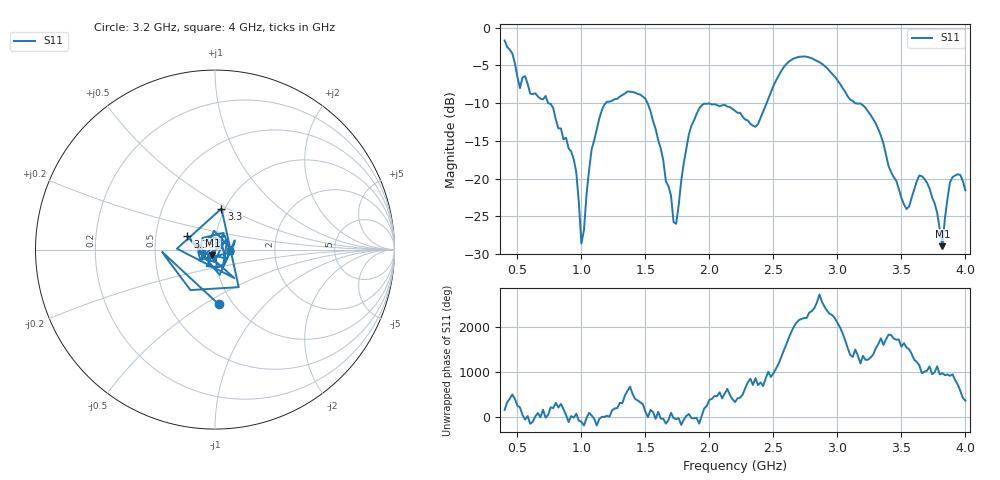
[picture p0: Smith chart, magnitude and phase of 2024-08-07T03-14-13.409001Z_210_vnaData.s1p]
!Created with skrf (http://scikit-rf.org).
# Hz S RI R 50.0
!freq ReS11 ImS11
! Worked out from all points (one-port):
!   181 points, 400 MHz to 4 GHz, reference 50 ohm
!   lowest |S11| = -29.0 dB at 3.82 GHz (marker M1), VSWR 1.07, Z = 48.4 - j3.14 ohm
!   |S11| at or under -10 dB: 739.8 MHz to 1.19 GHz (449.7 MHz wide, 46.6 % of centre); 1.517 GHz to 2.447 GHz (930.3 MHz wide, 46.9 % of centre); 3.139 GHz to end of sweep
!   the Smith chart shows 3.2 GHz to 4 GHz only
!   S11 on the Smith chart (normalised r, x): 3.2 GHz: 0.86, -0.58; 3.3 GHz: 0.96, +0.47; 3.36 GHz: 0.73, +0.11; 4 GHz: 1.18, -0.02
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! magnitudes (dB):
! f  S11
! 400 MHz  -1.7
! 520 MHz  -8.0
! 720 MHz  -9.0
! 860 MHz  -14.8
! 960 MHz  -19.2
! 1 GHz  -28.6
! 1.08 GHz  -16.1
! 1.14 GHz  -12.0
! 1.3 GHz  -9.1
! 1.5 GHz  -9.4
! 1.62 GHz  -16.0
! 1.72 GHz  -25.8
! 1.76 GHz  -23.5
! 1.84 GHz  -14.1
! 1.92 GHz  -10.7
! 2.2 GHz  -11.0
! 2.36 GHz  -13.1
! 2.66 GHz  -4.1
! 2.88 GHz  -4.8
! 3.1 GHz  -9.5
! 3.2 GHz  -10.3
! 3.3 GHz  -12.7
! 3.36 GHz  -15.4
! 3.56 GHz  -23.7
! 3.68 GHz  -20.0
! 3.82 GHz  -29.0
! 3.88 GHz  -20.5
! 4 GHz  -21.6
